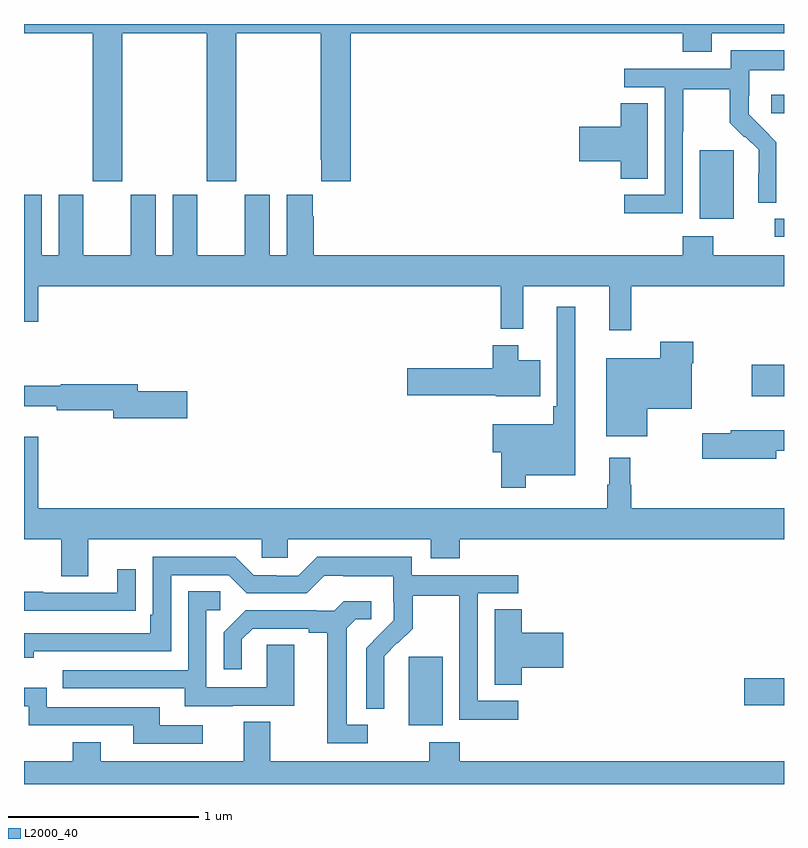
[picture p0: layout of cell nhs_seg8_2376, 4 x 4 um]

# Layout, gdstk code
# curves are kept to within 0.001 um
import gdstk
lib = gdstk.Library(unit=1e-6, precision=1e-09)
def R(c, l, rs):  # rectangles x0, y0, x1, y1
    for r in rs: c.add(gdstk.rectangle(r[:2], r[2:], *l))
def P(c, l, *ps):  # polygons
    for p in ps: c.add(gdstk.Polygon(p, *l))
L2000_40 = (2000, 40)

nhs_seg8_2376 = lib.new_cell('nhs_seg8_2376')
R(nhs_seg8_2376, L2000_40, [(263.024,1094.21,263.203,1094.571), (264.792,1094.314,265,1094.456), (264.831,1095.941,265,1096.107), (264.951,1096.779,265,1096.875), (264.557,1096.874,264.736,1097.235), (264.933,1097.43,265,1097.527)])
P(nhs_seg8_2376, L2000_40, [(261.516,1097.852),(261.961,1097.852),(261.961,1097.073),(262.116,1097.073),(262.116,1097.852),(262.561,1097.852),(262.561,1097.185),(262.565,1097.185),(262.565,1097.073),(262.721,1097.073),(262.721,1097.852),(264.467,1097.852),(264.467,1097.753),(264.619,1097.753),(264.619,1097.852),(265,1097.852),(265,1097.9),(261,1097.9),(261,1097.852),(261.361,1097.852),(261.361,1097.073),(261.516,1097.073)],
  [(264.468,1097.332),(264.471,1097.332),(264.471,1097.556),(264.715,1097.556),(264.715,1097.381),(264.792,1097.304),(264.795,1097.307),(264.866,1097.237),(264.866,1097.114),(264.864,1097.114),(264.864,1096.96),(264.96,1096.96),(264.96,1097.278),(264.814,1097.426),(264.814,1097.523),(264.816,1097.523),(264.816,1097.657),(265,1097.657),(265,1097.761),(264.72,1097.761),(264.72,1097.664),(264.159,1097.664),(264.159,1097.568),(264.372,1097.568),(264.372,1097.001),(264.159,1097.001),(264.159,1096.903),(264.468,1096.903)],
  [(264.283,1097.483),(264.14,1097.483),(264.14,1097.36),(263.922,1097.36),(263.922,1097.177),(264.14,1097.177),(264.14,1097.086),(264.283,1097.086)],
  [(264.197,1096.52),(265,1096.52),(265,1096.684),(264.627,1096.684),(264.627,1096.783),(264.467,1096.783),(264.467,1096.684),(262.526,1096.684),(262.526,1096.889),(262.519,1096.889),(262.519,1097.002),(262.382,1097.002),(262.382,1096.684),(262.294,1096.684),(262.294,1097.002),(262.163,1097.002),(262.163,1096.684),(261.913,1096.684),(261.913,1097.002),(261.782,1097.002),(261.782,1096.684),(261.694,1096.684),(261.694,1097.002),(261.563,1097.002),(261.563,1096.684),(261.313,1096.684),(261.313,1097.002),(261.182,1097.002),(261.182,1096.684),(261.094,1096.684),(261.094,1097.002),(261,1097.002),(261,1096.332),(261.076,1096.332),(261.076,1096.52),(263.509,1096.52),(263.509,1096.295),(263.627,1096.295),(263.627,1096.52),(264.08,1096.52),(264.08,1096.287),(264.197,1096.287)],
  [(263.641,1095.524),(263.902,1095.524),(263.902,1096.411),(263.805,1096.411),(263.805,1095.889),(263.785,1095.889),(263.785,1095.793),(263.468,1095.793),(263.468,1095.646),(263.512,1095.646),(263.512,1095.459),(263.641,1095.459)],
  [(264.28,1095.875),(264.514,1095.875),(264.514,1096.115),(264.522,1096.115),(264.522,1096.228),(264.349,1096.228),(264.349,1096.141),(264.065,1096.141),(264.065,1095.731),(264.28,1095.731)],
  [(263.716,1096.129),(263.602,1096.129),(263.602,1096.21),(263.468,1096.21),(263.468,1096.089),(263.016,1096.089),(263.016,1095.947),(263.484,1095.947),(263.484,1095.941),(263.716,1095.941)],
  [(261.859,1095.968),(261.598,1095.968),(261.598,1096.004),(261.194,1096.004),(261.194,1095.997),(261,1095.997),(261,1095.887),(261.172,1095.887),(261.172,1095.868),(261.47,1095.868),(261.47,1095.826),(261.859,1095.826)],
  [(264.958,1095.654),(265,1095.654),(265,1095.763),(264.719,1095.763),(264.719,1095.746),(264.57,1095.746),(264.57,1095.611),(264.958,1095.611)],
  [(261.337,1095.188),(262.251,1095.188),(262.251,1095.09),(262.389,1095.09),(262.389,1095.188),(263.141,1095.188),(263.141,1095.089),(263.294,1095.089),(263.294,1095.188),(265,1095.188),(265,1095.352),(264.197,1095.352),(264.197,1095.476),(264.19,1095.476),(264.19,1095.616),(264.08,1095.616),(264.08,1095.476),(264.069,1095.476),(264.069,1095.352),(261.076,1095.352),(261.076,1095.727),(261,1095.727),(261,1095.188),(261.197,1095.188),(261.197,1094.994),(261.337,1094.994)],
  [(263.602,1094.337),(263.388,1094.337),(263.388,1094.904),(263.602,1094.904),(263.602,1095),(263.04,1095),(263.04,1095.097),(262.543,1095.097),(262.443,1094.997),(262.328,1094.997),(262.328,1095),(262.209,1095),(262.113,1095.096),(261.678,1095.096),(261.678,1094.791),(261.665,1094.791),(261.665,1094.694),(261,1094.694),(261,1094.564),(261.05,1094.564),(261.05,1094.598),(261.774,1094.598),(261.774,1095),(262.077,1095),(262.173,1094.904),(262.488,1094.904),(262.581,1094.997),(262.681,1094.997),(262.681,1094.993),(262.944,1094.993),(262.944,1094.859),(262.946,1094.859),(262.946,1094.762),(262.8,1094.614),(262.8,1094.296),(262.896,1094.296),(262.895,1094.573),(262.965,1094.643),(262.968,1094.64),(263.045,1094.717),(263.045,1094.892),(263.29,1094.892),(263.29,1094.668),(263.292,1094.668),(263.292,1094.239),(263.602,1094.239)],
  [(261.485,1094.812),(261.587,1094.812),(261.587,1095.031),(261.491,1095.031),(261.491,1094.907),(261.101,1094.907),(261.101,1094.912),(261,1094.912),(261,1094.811),(261.485,1094.811)],
  [(262.099,1094.313),(262.423,1094.313),(262.423,1094.633),(262.278,1094.633),(262.278,1094.409),(261.96,1094.409),(261.96,1094.814),(262.033,1094.814),(262.033,1094.915),(261.864,1094.915),(261.864,1094.499),(261.205,1094.499),(261.205,1094.403),(261.845,1094.403),(261.845,1094.309),(262.099,1094.309)],
  [(262.81,1094.211),(262.699,1094.211),(262.699,1094.719),(262.746,1094.766),(262.828,1094.766),(262.828,1094.863),(262.684,1094.863),(262.632,1094.811),(262.538,1094.811),(262.538,1094.814),(262.166,1094.814),(262.05,1094.698),(262.05,1094.505),(262.147,1094.505),(262.147,1094.661),(262.204,1094.718),(262.499,1094.718),(262.499,1094.696),(262.595,1094.696),(262.595,1094.115),(262.81,1094.115)],
  [(263.621,1094.513),(263.839,1094.513),(263.839,1094.696),(263.621,1094.696),(263.621,1094.819),(263.477,1094.819),(263.477,1094.422),(263.621,1094.422)],
  [(261.94,1094.208),(261.715,1094.208),(261.715,1094.304),(261.12,1094.304),(261.12,1094.407),(261,1094.407),(261,1094.31),(261.024,1094.31),(261.024,1094.208),(261.575,1094.208),(261.575,1094.112),(261.94,1094.112)],
  [(262.297,1094.228),(262.157,1094.228),(262.157,1094.02),(261.403,1094.02),(261.403,1094.119),(261.256,1094.119),(261.256,1094.02),(261,1094.02),(261,1093.9),(265,1093.9),(265,1094.02),(263.294,1094.02),(263.294,1094.119),(263.134,1094.119),(263.134,1094.02),(262.297,1094.02)])

lib.write_gds('nhs_seg8_2376.gds')
